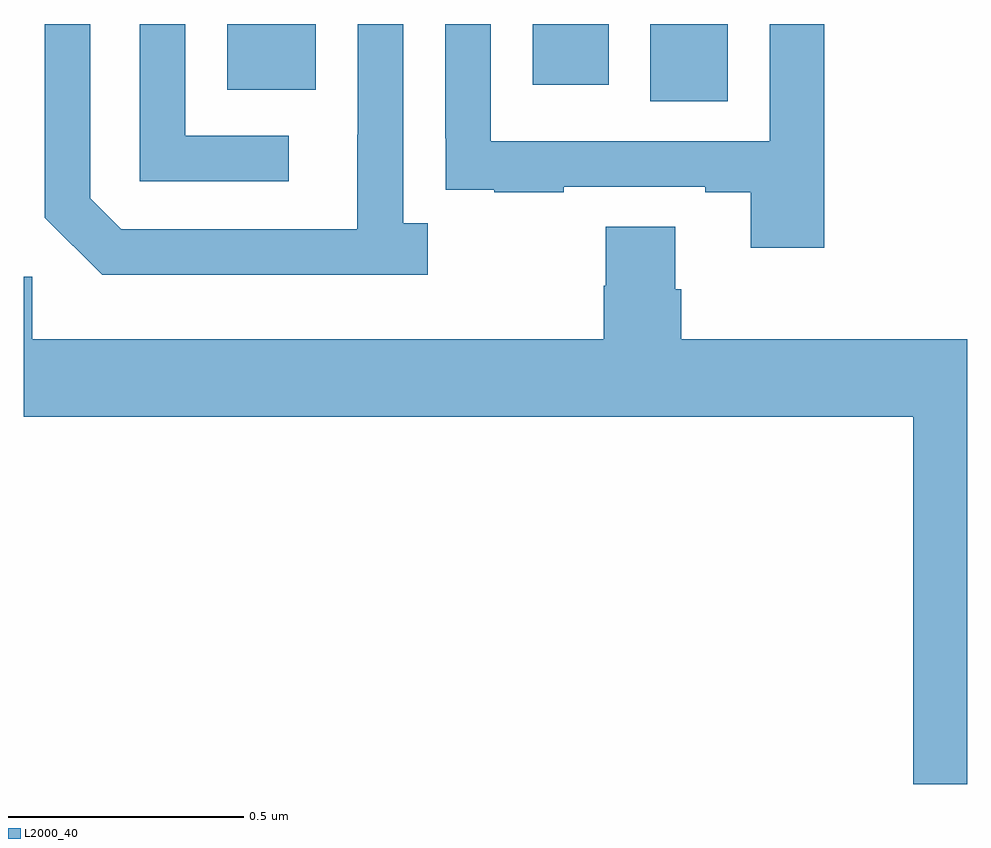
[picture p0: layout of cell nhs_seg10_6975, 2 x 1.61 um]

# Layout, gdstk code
import gdstk
lib = gdstk.Library(unit=1e-6, precision=1e-09)
def R(c, l, rs):  # rectangles x0, y0, x1, y1
    for r in rs: c.add(gdstk.rectangle(r[:2], r[2:], *l))
def P(c, l, *ps):  # polygons
    for p in ps: c.add(gdstk.Polygon(p, *l))
L2000_40 = (2000, 40)

nhs_seg10_6975 = lib.new_cell('nhs_seg10_6975')
R(nhs_seg10_6975, L2000_40, [(199.328,1282.336,199.492,1282.5), (198.431,1282.361,198.619,1282.5), (199.079,1282.371,199.24,1282.5)])
P(nhs_seg10_6975, L2000_40, [(198.856,1282.078),(198.804,1282.078),(198.804,1282.5),(198.708,1282.5),(198.708,1282.265),(198.707,1282.265),(198.707,1282.065),(198.207,1282.065),(198.141,1282.131),(198.141,1282.5),(198.045,1282.5),(198.045,1282.089),(198.166,1281.968),(198.856,1281.968)],
  [(199.697,1282.5),(199.581,1282.5),(199.581,1282.251),(198.99,1282.251),(198.99,1282.5),(198.894,1282.5),(198.894,1282.258),(198.895,1282.258),(198.895,1282.149),(198.997,1282.149),(198.997,1282.143),(199.145,1282.143),(199.145,1282.155),(199.445,1282.155),(199.445,1282.143),(199.541,1282.143),(199.541,1282.026),(199.697,1282.026)],
  [(198.562,1282.263),(198.342,1282.263),(198.342,1282.5),(198.246,1282.5),(198.246,1282.167),(198.562,1282.167)],
  [(200,1281.832),(199.394,1281.832),(199.394,1281.938),(199.381,1281.938),(199.381,1282.07),(199.234,1282.07),(199.234,1281.945),(199.229,1281.945),(199.229,1281.832),(198.018,1281.832),(198.018,1281.964),(198,1281.964),(198,1281.668),(199.886,1281.668),(199.886,1280.889),(200,1280.889)])

lib.write_gds('nhs_seg10_6975.gds')
